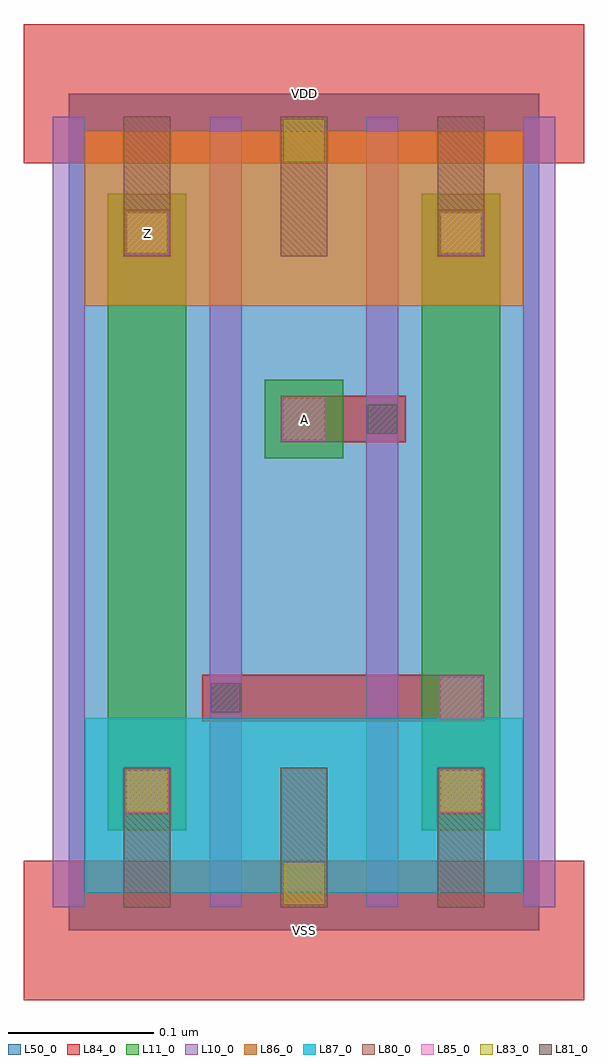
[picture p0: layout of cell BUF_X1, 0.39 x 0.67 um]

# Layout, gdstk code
import gdstk
lib = gdstk.Library(unit=1e-6, precision=1e-09)
def R(c, l, rs):  # rectangles x0, y0, x1, y1
    for r in rs: c.add(gdstk.rectangle(r[:2], r[2:], *l))
def A(c, l, x, y, w, h, nx, ny, dx, dy):  # array of equal rectangles
    R(c, l, [(x+i*dx, y+j*dy, x+i*dx+w, y+j*dy+h) for i in range(nx) for j in range(ny)])
L10_0 = (10, 0)
L11_0 = (11, 0)
L50_0 = (50, 0)
L80_0 = (80, 0)
L81_0 = (81, 0)
L83_0 = (83, 0)
L84_0 = (84, 0)
L85_0 = (85, 0)
L86_0 = (86, 0)
L87_0 = (87, 0)

buf_x1 = lib.new_cell('BUF_X1')
A(buf_x1, L10_0, -0.011, 0.016, 0.022, 0.544, 4, 1, 0.108, 0)
R(buf_x1, L11_0, [(0.027,0.069,0.081,0.507), (0.243,0.069,0.297,0.507), (0.135,0.325,0.189,0.379)])
R(buf_x1, L50_0, [(0,0,0.324,0.576)])
A(buf_x1, L80_0, 0.038, 0.016, 0.032, 0.096, 3, 2, 0.108, 0.448)
R(buf_x1, L81_0, [(0.098,0.15,0.118,0.17), (0.206,0.342,0.226,0.362)])
R(buf_x1, L83_0, [(0.148,0.018,0.176,0.046), (0.04,0.082,0.068,0.11), (0.256,0.082,0.284,0.11), (0.04,0.466,0.068,0.494), (0.256,0.466,0.284,0.494), (0.148,0.53,0.176,0.558)])
R(buf_x1, L84_0, [(-0.031,-0.048,0.355,0.048), (0.038,0.08,0.07,0.112), (0.254,0.08,0.286,0.112), (0.092,0.144,0.286,0.176), (0.146,0.336,0.232,0.368), (0.038,0.464,0.07,0.496), (0.254,0.464,0.286,0.496), (-0.031,0.528,0.355,0.624)])
R(buf_x1, L85_0, [(0.039,0.081,0.069,0.111), (0.255,0.081,0.285,0.111), (0.255,0.145,0.285,0.175), (0.147,0.337,0.177,0.367), (0.039,0.465,0.069,0.495), (0.255,0.465,0.285,0.495)])
R(buf_x1, L86_0, [(0.011,0.43,0.313,0.55)])
R(buf_x1, L87_0, [(0.011,0.026,0.313,0.146)])
buf_x1.add(gdstk.Label('VDD', (0.162,0.576), layer=88, texttype=0))
buf_x1.add(gdstk.Label('VSS', (0.162,0), layer=88, texttype=0))
buf_x1.add(gdstk.Label('Z', (0.054,0.48), layer=31, texttype=0))
buf_x1.add(gdstk.Label('A', (0.162,0.352), layer=31, texttype=0))

lib.write_gds('BUF_X1.gds')
